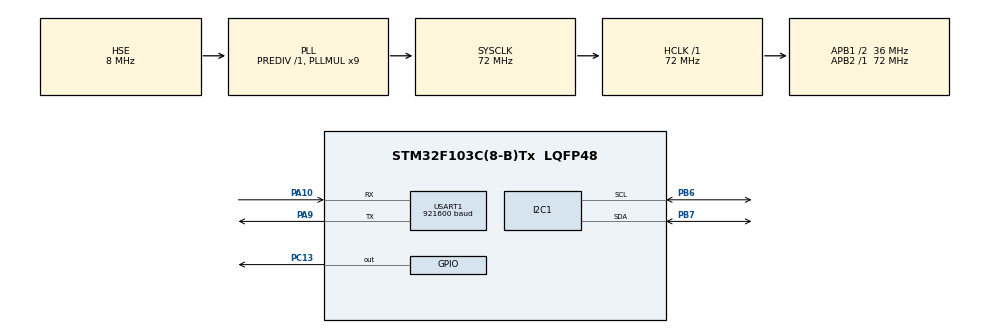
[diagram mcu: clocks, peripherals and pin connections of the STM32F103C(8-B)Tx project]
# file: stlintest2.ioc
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FREERTOS.Tasks01=defaultTask,24,384,StartDefaultTask,Default,NULL,Dynamic,NULL,NULL
I2C1.I2C_Mode=I2C_Fast
Mcu.Family=STM32F1
Mcu.Name=STM32F103C(8-B)Tx
Mcu.Package=LQFP48
NVIC.PriorityGroup=NVIC_PRIORITYGROUP_4
NVIC.TIM4_IRQn=true\:15\:0\:false\:false\:true\:false\:false\:true\:true
NVIC.TimeBase=TIM4_IRQn
NVIC.TimeBaseIP=TIM4
PA10.Mode=Asynchronous
PA10.Signal=USART1_RX
PA13.Mode=Serial_Wire
PA13.Signal=SYS_JTMS-SWDIO
PA14.Mode=Serial_Wire
PA14.Signal=SYS_JTCK-SWCLK
PA9.Mode=Asynchronous
PA9.Signal=USART1_TX
PB6.Mode=I2C
PB6.Signal=I2C1_SCL
PB7.Mode=I2C
PB7.Signal=I2C1_SDA
PC13-TAMPER-RTC.GPIO_PuPd=GPIO_PULLUP
PC13-TAMPER-RTC.Signal=GPIO_Output
PC14-OSC32_IN.Mode=LSE-External-Oscillator
PC14-OSC32_IN.Signal=RCC_OSC32_IN
PC15-OSC32_OUT.Mode=LSE-External-Oscillator
PC15-OSC32_OUT.Signal=RCC_OSC32_OUT
PD0-OSC_IN.Mode=HSE-External-Oscillator
PD0-OSC_IN.Signal=RCC_OSC_IN
PD1-OSC_OUT.Mode=HSE-External-Oscillator
PD1-OSC_OUT.Signal=RCC_OSC_OUT
ProjectManager.HeapSize=0x200
ProjectManager.StackSize=0x400
ProjectManager.TargetToolchain=CMake
RCC.AHBFreq_Value=72000000
RCC.APB1CLKDivider=RCC_HCLK_DIV2
RCC.APB1Freq_Value=36000000
RCC.APB1TimFreq_Value=72000000
RCC.APB2Freq_Value=72000000
RCC.APB2TimFreq_Value=72000000
RCC.HCLKFreq_Value=72000000
RCC.PLLMUL=RCC_PLL_MUL9
RCC.PLLSourceVirtual=RCC_PLLSOURCE_HSE
RCC.SYSCLKFreq_VALUE=72000000
RCC.SYSCLKSource=RCC_SYSCLKSOURCE_PLLCLK
RCC.USBFreq_Value=72000000
USART1.BaudRate=921600
USART1.VirtualMode=VM_ASYNC
VP_FREERTOS_VS_CMSIS_V2.Mode=CMSIS_V2
VP_SYS_VS_tim4.Mode=TIM4
board=custom

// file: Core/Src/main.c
/* USER CODE BEGIN Header */
/**
  ******************************************************************************
  * @file           : main.c
  * @brief          : Main program body
  ******************************************************************************
  * @attention
  *
  * Copyright (c) 2026 STMicroelectronics.
  * All rights reserved.
  *
  * This software is licensed under terms that can be found in the LICENSE file
  * in the root directory of this software component.
  * If no LICENSE file comes with this software, it is provided AS-IS.
  *
  ******************************************************************************
  */
/* USER CODE END Header */
#include "main.h"
#include "cmsis_os.h"

I2C_HandleTypeDef hi2c1;

UART_HandleTypeDef huart1;

/* Definitions for defaultTask */
osThreadId_t defaultTaskHandle;
const osThreadAttr_t defaultTask_attributes = {
  .name = "defaultTask",
  .stack_size = 384 * 4,
  .priority = (osPriority_t) osPriorityNormal,
};

void SystemClock_Config(void);
static void MX_GPIO_Init(void);
static void MX_I2C1_Init(void);
static void MX_USART1_UART_Init(void);
void StartDefaultTask(void *argument);

int main(void)
{

  /* MCU Configuration--------------------------------------------------------*/

  /* Reset of all peripherals, Initializes the Flash interface and the Systick. */
  HAL_Init();

  /* Configure the system clock */
  SystemClock_Config();

  /* Initialize all configured peripherals */
  MX_GPIO_Init();
  MX_I2C1_Init();
  MX_USART1_UART_Init();

  /* Init scheduler */
  osKernelInitialize();

  /* Create the thread(s) */
  /* creation of defaultTask */
  defaultTaskHandle = osThreadNew(StartDefaultTask, NULL, &defaultTask_attributes);

  /* Start scheduler */
  osKernelStart();

  /* We should never get here as control is now taken by the scheduler */

  /* Infinite loop */
  while (1)
  {

  }
}

void SystemClock_Config(void)
{
  RCC_OscInitTypeDef RCC_OscInitStruct = {0};
  RCC_ClkInitTypeDef RCC_ClkInitStruct = {0};

  /** Initializes the RCC Oscillators according to the specified parameters
  * in the RCC_OscInitTypeDef structure.
  */
  RCC_OscInitStruct.OscillatorType = RCC_OSCILLATORTYPE_HSE;
  RCC_OscInitStruct.HSEState = RCC_HSE_ON;
  RCC_OscInitStruct.HSEPredivValue = RCC_HSE_PREDIV_DIV1;
  RCC_OscInitStruct.HSIState = RCC_HSI_ON;
  RCC_OscInitStruct.PLL.PLLState = RCC_PLL_ON;
  RCC_OscInitStruct.PLL.PLLSource = RCC_PLLSOURCE_HSE;
  RCC_OscInitStruct.PLL.PLLMUL = RCC_PLL_MUL9;
  if (HAL_RCC_OscConfig(&RCC_OscInitStruct) != HAL_OK)
  {
    Error_Handler();
  }

  /** Initializes the CPU, AHB and APB buses clocks
  */
  RCC_ClkInitStruct.ClockType = RCC_CLOCKTYPE_HCLK|RCC_CLOCKTYPE_SYSCLK
                              |RCC_CLOCKTYPE_PCLK1|RCC_CLOCKTYPE_PCLK2;
  RCC_ClkInitStruct.SYSCLKSource = RCC_SYSCLKSOURCE_PLLCLK;
  RCC_ClkInitStruct.AHBCLKDivider = RCC_SYSCLK_DIV1;
  RCC_ClkInitStruct.APB1CLKDivider = RCC_HCLK_DIV2;
  RCC_ClkInitStruct.APB2CLKDivider = RCC_HCLK_DIV1;

  if (HAL_RCC_ClockConfig(&RCC_ClkInitStruct, FLASH_LATENCY_2) != HAL_OK)
  {
    Error_Handler();
  }
}

static void MX_I2C1_Init(void)
{

  hi2c1.Instance = I2C1;
  hi2c1.Init.ClockSpeed = 400000;
  hi2c1.Init.DutyCycle = I2C_DUTYCYCLE_2;
  hi2c1.Init.OwnAddress1 = 0;
  hi2c1.Init.AddressingMode = I2C_ADDRESSINGMODE_7BIT;
  hi2c1.Init.DualAddressMode = I2C_DUALADDRESS_DISABLE;
  hi2c1.Init.OwnAddress2 = 0;
  hi2c1.Init.GeneralCallMode = I2C_GENERALCALL_DISABLE;
  hi2c1.Init.NoStretchMode = I2C_NOSTRETCH_DISABLE;
  if (HAL_I2C_Init(&hi2c1) != HAL_OK)
  {
    Error_Handler();
  }

}

static void MX_USART1_UART_Init(void)
{

  huart1.Instance = USART1;
  huart1.Init.BaudRate = 921600;
  huart1.Init.WordLength = UART_WORDLENGTH_8B;
  huart1.Init.StopBits = UART_STOPBITS_1;
  huart1.Init.Parity = UART_PARITY_NONE;
  huart1.Init.Mode = UART_MODE_TX_RX;
  huart1.Init.HwFlowCtl = UART_HWCONTROL_NONE;
  huart1.Init.OverSampling = UART_OVERSAMPLING_16;
  if (HAL_UART_Init(&huart1) != HAL_OK)
  {
    Error_Handler();
  }

}

static void MX_GPIO_Init(void)
{
  GPIO_InitTypeDef GPIO_InitStruct = {0};

  /* GPIO Ports Clock Enable */
  __HAL_RCC_GPIOC_CLK_ENABLE();
  __HAL_RCC_GPIOD_CLK_ENABLE();
  __HAL_RCC_GPIOA_CLK_ENABLE();
  __HAL_RCC_GPIOB_CLK_ENABLE();

  /*Configure GPIO pin Output Level */
  HAL_GPIO_WritePin(GPIOC, GPIO_PIN_13, GPIO_PIN_RESET);

  /*Configure GPIO pin : PC13 */
  GPIO_InitStruct.Pin = GPIO_PIN_13;
  GPIO_InitStruct.Mode = GPIO_MODE_OUTPUT_PP;
  GPIO_InitStruct.Pull = GPIO_PULLUP;
  GPIO_InitStruct.Speed = GPIO_SPEED_FREQ_LOW;
  HAL_GPIO_Init(GPIOC, &GPIO_InitStruct);

}

void StartDefaultTask(void *argument)
{
  /* USER CODE BEGIN 5 */
  App_Run();
  /* USER CODE END 5 */
}

void HAL_TIM_PeriodElapsedCallback(TIM_HandleTypeDef *htim)
{
  if (htim->Instance == TIM4)
  {
    HAL_IncTick();
  }
}

void Error_Handler(void)
{
  __disable_irq();
  while (1)
  {
  }
}

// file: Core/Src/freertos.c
/* USER CODE BEGIN Header */
/**
  ******************************************************************************
  * File Name          : freertos.c
  * Description        : Code for freertos applications
  ******************************************************************************
  * @attention
  *
  * Copyright (c) 2026 STMicroelectronics.
  * All rights reserved.
  *
  * This software is licensed under terms that can be found in the LICENSE file
  * in the root directory of this software component.
  * If no LICENSE file comes with this software, it is provided AS-IS.
  *
  ******************************************************************************
  */
/* USER CODE END Header */

#include "FreeRTOS.h"
#include "task.h"
#include "main.h"
#include "cmsis_os.h"

/* USER CODE BEGIN Includes */
#include "semphr.h"
#include <stdio.h>

#include "usart.h"
#include "MPU6050.h"
/* USER CODE END Includes */

/* USER CODE BEGIN PTD */

// 角度文本：整数部分 + 三位小数 + 符号
typedef struct
{
  long        ip;
  long        fp;
  const char *sign;
} AngleText;

/* USER CODE END PTD */

/* USER CODE BEGIN PD */
#define IMU_START_DELAY_MS           300
#define IMU_RETRY_DELAY_MS           500
#define IMU_SAMPLE_PERIOD_MS         1
#define COMM_PERIOD_MS               1
#define STATUS_REPORT_PERIOD_MS      500
#define UART_TIMEOUT_MS              10
#define IMU_MAX_CONSECUTIVE_ERRORS   10

#define IMU_TASK_STACK_WORDS         384
#define COMM_TASK_STACK_WORDS        256
#define LED_TASK_STACK_WORDS         128

#define IMU_TASK_PRIORITY            (tskIDLE_PRIORITY + 24)
#define COMM_TASK_PRIORITY           (tskIDLE_PRIORITY + 2)
#define LED_TASK_PRIORITY            (tskIDLE_PRIORITY + 1)

// IMU 状态码，与串口错误帧 ERR,<status> 对应
#define IMU_STATUS_BOOT              0
#define IMU_STATUS_INIT              1
#define IMU_STATUS_CALIBRATE         2
#define IMU_STATUS_UPDATE_ERROR      3
#define IMU_STATUS_READY             4
/* USER CODE END PD */

/* USER CODE BEGIN Variables */
static SemaphoreHandle_t imuDataMutex;
static TaskHandle_t imuTaskHandle;
static TaskHandle_t commTaskHandle;
static TaskHandle_t ledTaskHandle;
static MPU6050_t *volatile g_mpu6050 = NULL;

volatile uint8_t g_imu_ready = 0;
volatile uint8_t g_imu_status = IMU_STATUS_BOOT;
/* USER CODE END Variables */

/* USER CODE BEGIN FunctionPrototypes */
static void IMUTask(void *argument);
static void CommTask(void *argument);
static void LEDTask(void *argument);
static void angle_to_text(float value, AngleText *out);
static void comm_transmit(char *buffer, size_t buffer_size, int length);
/* USER CODE END FunctionPrototypes */

/* USER CODE BEGIN 0 */
static void angle_to_text(float value, AngleText *out)
{
  static const float round_half = 0.5;
  long md;

  // 转换为毫度，四舍五入并记录符号。
  md = (long)(value * 1000 + ((value >= 0) ? round_half : -round_half));
  out->sign = (md < 0) ? "-" : "";
  if (md < 0)
  {
    md = -md;
  }
  out->ip = md / 1000;
  out->fp = md % 1000;
}

static void comm_transmit(char *buffer, size_t buffer_size, int length)
{
  size_t tx_length;

  if ((buffer == NULL) || (buffer_size == 0) || (length <= 0))
  {
    return;
  }

  tx_length = (size_t)length;
  if (tx_length >= buffer_size)
  {
    tx_length = buffer_size - 1;
  }

  USART1_Transmit((const uint8_t *)buffer,
                  (uint16_t)tx_length,
                  UART_TIMEOUT_MS);
}
/* USER CODE END 0 */

/* USER CODE BEGIN Application */
// 创建应用任务并删除 CubeMX 默认启动任务。
// 由 main.c 中的 StartDefaultTask() 调用。
void App_Run(void)
{
  imuDataMutex = xSemaphoreCreateMutex();
  configASSERT(imuDataMutex != NULL);

  configASSERT(xTaskCreate(IMUTask, "IMU", IMU_TASK_STACK_WORDS, NULL,
                           IMU_TASK_PRIORITY, &imuTaskHandle) == pdPASS);
  configASSERT(xTaskCreate(CommTask, "Comm", COMM_TASK_STACK_WORDS, NULL,
                           COMM_TASK_PRIORITY, &commTaskHandle) == pdPASS);
  configASSERT(xTaskCreate(LEDTask, "LED", LED_TASK_STACK_WORDS, NULL,
                           LED_TASK_PRIORITY, &ledTaskHandle) == pdPASS);

  vTaskDelete(NULL);
}

// MPU6050 初始化、校准、采集与姿态解算任务。
// argument: 未使用。
static void IMUTask(void *argument)
{
  MPU6050_t mpu6050;
  TickType_t last_wake;
  uint16_t update_error_count;
  uint8_t update_ok;

  (void)argument;

  // 传感器实例的生命周期与 IMUTask 相同，供 CommTask 只读访问。
  g_mpu6050 = &mpu6050;
  vTaskDelay(pdMS_TO_TICKS(IMU_START_DELAY_MS));

  for (;;)
  {
    g_imu_ready = 0;
    g_imu_status = IMU_STATUS_INIT;

    if (MPU6050_Init(&mpu6050) == 0)
    {
      vTaskDelay(pdMS_TO_TICKS(IMU_RETRY_DELAY_MS));
      continue;
    }

    g_imu_status = IMU_STATUS_CALIBRATE;
    if (MPU6050_Calibrate(&mpu6050) == 0)
    {
      vTaskDelay(pdMS_TO_TICKS(IMU_RETRY_DELAY_MS));
      continue;
    }

    g_imu_status = IMU_STATUS_READY;
    g_imu_ready = 1;
    update_error_count = 0;
    last_wake = xTaskGetTickCount();

    for (;;)
    {
      // 严格 1 kHz 采样，与 MPU6050 输出周期对齐。
      vTaskDelayUntil(&last_wake, pdMS_TO_TICKS(IMU_SAMPLE_PERIOD_MS));

      (void)xSemaphoreTake(imuDataMutex, portMAX_DELAY);
      update_ok = MPU6050_Update(&mpu6050);
      (void)xSemaphoreGive(imuDataMutex);

      if (update_ok == 0)
      {
        update_error_count++;
        if (update_error_count >= IMU_MAX_CONSECUTIVE_ERRORS)
        {
          g_imu_status = IMU_STATUS_UPDATE_ERROR;
          break;
        }
      }
      else
      {
        update_error_count = 0;
      }

      // 任务被长时间阻塞后重新对齐采样基准，避免连续补采样。
      if ((xTaskGetTickCount() - last_wake) > pdMS_TO_TICKS(2 * IMU_SAMPLE_PERIOD_MS))
      {
        last_wake = xTaskGetTickCount();
      }
    }

    // 连续读取失败后停止输出，重新初始化并校准传感器。
    g_imu_ready = 0;
    vTaskDelay(pdMS_TO_TICKS(IMU_RETRY_DELAY_MS));
  }
}

// 串口通信任务，每 1 ms 输出一帧欧拉角。
// argument: 未使用。
static void CommTask(void *argument)
{
  float euler[3];
  AngleText text[3];
  char tx_buff[64];
  TickType_t last_wake;
  TickType_t last_status_tick = 0;
  int length;

  (void)argument;

  last_wake = xTaskGetTickCount();

  for (;;)
  {
    vTaskDelayUntil(&last_wake, pdMS_TO_TICKS(COMM_PERIOD_MS));

    if ((g_imu_ready == 0) || (g_mpu6050 == NULL))
    {
      TickType_t now = xTaskGetTickCount();

      // IMU 未就绪时每 500 ms 发送一次错误状态，便于上位机定位问题。
      if ((now - last_status_tick) >= pdMS_TO_TICKS(STATUS_REPORT_PERIOD_MS))
      {
        length = snprintf(tx_buff, sizeof(tx_buff),
                          "ERR,%u\n", (unsigned)g_imu_status);
        comm_transmit(tx_buff, sizeof(tx_buff), length);
        last_status_tick = now;
      }
      continue;
    }

    last_status_tick = xTaskGetTickCount();

    (void)xSemaphoreTake(imuDataMutex, portMAX_DELAY);
    MPU6050_GetEuler(g_mpu6050, euler);
    (void)xSemaphoreGive(imuDataMutex);

    angle_to_text(euler[0], &text[0]);
    angle_to_text(euler[1], &text[1]);
    angle_to_text(euler[2], &text[2]);

    length = snprintf(tx_buff, sizeof(tx_buff),
                      "%s%ld.%03ld,%s%ld.%03ld,%s%ld.%03ld\n",
                      text[0].sign, text[0].ip, text[0].fp,
                      text[1].sign, text[1].ip, text[1].fp,
                      text[2].sign, text[2].ip, text[2].fp);
    comm_transmit(tx_buff, sizeof(tx_buff), length);

    // 串口阻塞导致周期异常时重新对齐发送基准。
    if ((xTaskGetTickCount() - last_wake) > pdMS_TO_TICKS(2 * COMM_PERIOD_MS))
    {
      last_wake = xTaskGetTickCount();
    }
  }
}

// LED 状态指示任务。
// argument: 未使用。
static void LEDTask(void *argument)
{
  (void)argument;

  for (;;)
  {
    HAL_GPIO_TogglePin(LED_GPIO_Port, LED_Pin);
    vTaskDelay(pdMS_TO_TICKS((g_imu_ready != 0) ? 500 : 100));
  }
}
/* USER CODE END Application */
